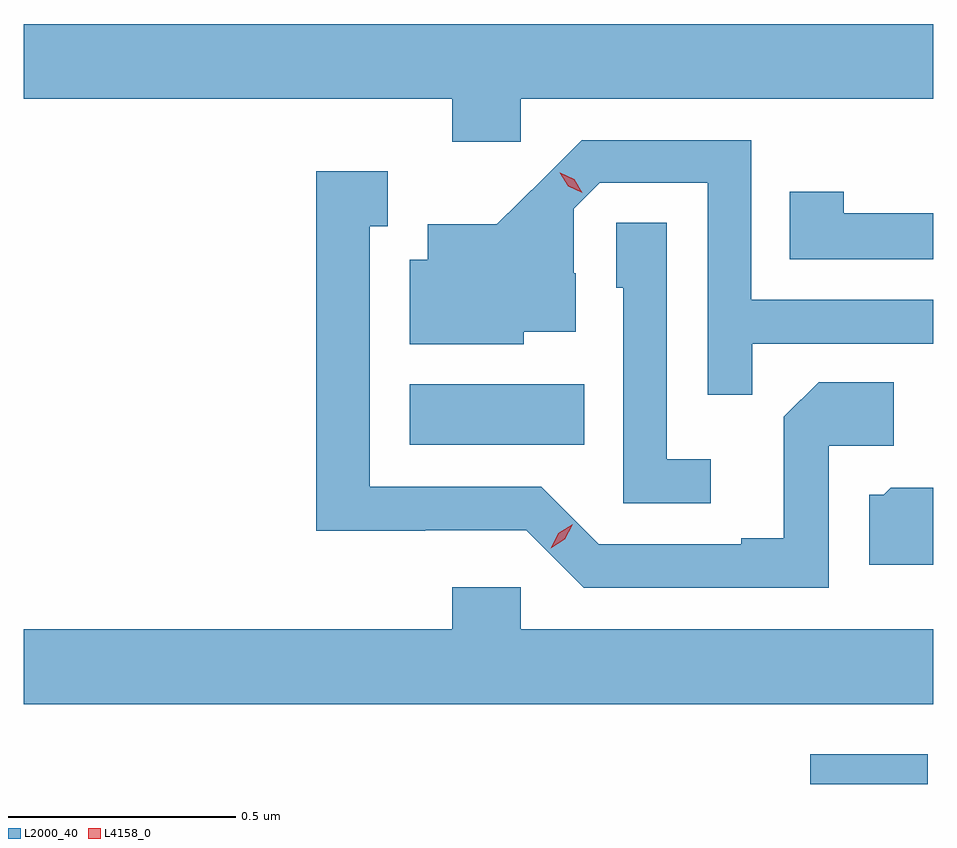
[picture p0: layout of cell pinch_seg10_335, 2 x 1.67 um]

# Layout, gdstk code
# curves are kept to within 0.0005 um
import gdstk
lib = gdstk.Library(unit=1e-6, precision=1e-09)
def R(c, l, rs):  # rectangles x0, y0, x1, y1
    for r in rs: c.add(gdstk.rectangle(r[:2], r[2:], *l))
def P(c, l, *ps):  # polygons
    for p in ps: c.add(gdstk.Polygon(p, *l))
L2000_40 = (2000, 40)
L4158_0 = (4158, 0)

pinch_seg10_335 = lib.new_cell('pinch_seg10_335')
R(pinch_seg10_335, L2000_40, [(419.083,1282.824,419.341,1282.89), (418.202,1283.57,418.586,1283.704)])
P(pinch_seg10_335, L2000_40, [(418.446,1284.332),(419.353,1284.332),(419.353,1284.496),(417.353,1284.496),(417.353,1284.332),(418.295,1284.332),(418.295,1284.237),(418.446,1284.237)],
  [(418.955,1283.793),(419.353,1283.793),(419.353,1283.889),(418.953,1283.889),(418.953,1284.24),(418.58,1284.24),(418.393,1284.055),(418.241,1284.055),(418.241,1283.977),(418.202,1283.977),(418.202,1283.792),(418.452,1283.792),(418.452,1283.819),(418.567,1283.819),(418.567,1283.948),(418.563,1283.948),(418.563,1284.09),(418.62,1284.147),(418.857,1284.147),(418.857,1283.68),(418.955,1283.68)],
  [(419.124,1283.568),(419.266,1283.568),(419.266,1283.708),(419.101,1283.708),(419.025,1283.632),(419.025,1283.365),(418.931,1283.365),(418.931,1283.352),(418.617,1283.352),(418.491,1283.478),(418.114,1283.478),(418.114,1284.051),(418.153,1284.051),(418.153,1284.172),(417.996,1284.172),(417.996,1283.381),(418.236,1283.381),(418.236,1283.382),(418.458,1283.382),(418.584,1283.256),(419.124,1283.256)],
  [(419.353,1284.08),(419.157,1284.08),(419.157,1284.127),(419.038,1284.127),(419.038,1283.979),(419.353,1283.979)],
  [(418.864,1283.539),(418.767,1283.539),(418.767,1284.059),(418.656,1284.059),(418.656,1283.916),(418.671,1283.916),(418.671,1283.442),(418.864,1283.442)],
  [(419.353,1283.476),(419.26,1283.476),(419.244,1283.46),(419.213,1283.46),(419.213,1283.306),(419.353,1283.306)],
  [(419.353,1283.164),(418.446,1283.164),(418.446,1283.257),(418.295,1283.257),(418.295,1283.164),(417.353,1283.164),(417.353,1283),(419.353,1283)])
P(pinch_seg10_335, L4158_0, [(418.581,1284.125),(418.55,1284.139),(418.532,1284.169),(418.532,1284.169),(418.533,1284.169),(418.564,1284.154),(418.581,1284.125),(418.581,1284.125)],
  [(418.512,1283.343),(418.512,1283.343),(418.528,1283.376),(418.56,1283.395),(418.56,1283.395),(418.56,1283.395),(418.543,1283.362),(418.512,1283.343)])

lib.write_gds('pinch_seg10_335.gds')
